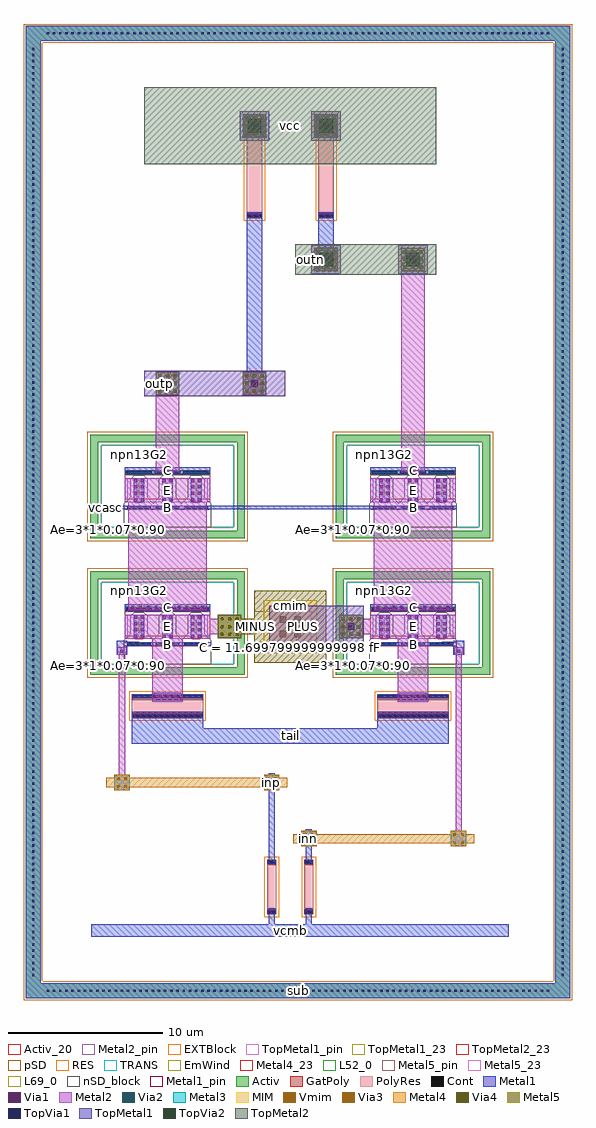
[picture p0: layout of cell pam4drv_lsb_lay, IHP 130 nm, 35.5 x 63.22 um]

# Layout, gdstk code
import gdstk
lib = gdstk.Library(unit=1e-6, precision=1e-09)
def R(c, l, rs):  # rectangles x0, y0, x1, y1
    for r in rs: c.add(gdstk.rectangle(r[:2], r[2:], *l))
def A(c, l, x, y, w, h, nx, ny, dx, dy):  # array of equal rectangles
    R(c, l, [(x+i*dx, y+j*dy, x+i*dx+w, y+j*dy+h) for i in range(nx) for j in range(ny)])
def P(c, l, *ps):  # polygons
    for p in ps: c.add(gdstk.Polygon(p, *l))
Activ = (1, 0)
Activ_20 = (1, 20)
GatPoly = (5, 0)
Cont = (6, 0)
nSD_block = (7, 21)
Metal1 = (8, 0)
Metal1_pin = (8, 2)
Metal2 = (10, 0)
Metal2_pin = (10, 2)
pSD = (14, 0)
Via1 = (19, 0)
RES = (24, 0)
TRANS = (26, 0)
Via2 = (29, 0)
Metal3 = (30, 0)
EmWind = (33, 0)
MIM = (36, 0)
Via3 = (49, 0)
Metal4 = (50, 0)
Metal4_23 = (50, 23)
L52_0 = (52, 0)
Via4 = (66, 0)
Metal5 = (67, 0)
Metal5_pin = (67, 2)
Metal5_23 = (67, 23)
L69_0 = (69, 0)
EXTBlock = (111, 0)
TopVia1 = (125, 0)
TopMetal1 = (126, 0)
TopMetal1_pin = (126, 2)
TopMetal1_23 = (126, 23)
PolyRes = (128, 0)
Vmim = (129, 0)
TopVia2 = (133, 0)
TopMetal2 = (134, 0)
TopMetal2_23 = (134, 23)

pam4drv_lsb_lay = lib.new_cell('pam4drv_lsb_lay')
R(pam4drv_lsb_lay, Activ, [(-10.725,4.31,-5.175,4.61), (5.175,4.31,10.725,4.61), (-10.725,13.16,-5.175,13.46), (5.175,13.16,10.725,13.46)])
P(pam4drv_lsb_lay, Activ, [(-12.95,0.2),(-12.95,6.41),(-12.45,6.41),(-12.45,0.7),(-3.45,0.7),(-3.45,6.41),(-12.95,6.41),(-12.95,6.91),(-2.95,6.91),(-2.95,0.2)],
  [(2.95,0.2),(2.95,6.41),(3.45,6.41),(3.45,0.7),(12.45,0.7),(12.45,6.41),(2.95,6.41),(2.95,6.91),(12.95,6.91),(12.95,0.2)],
  [(-12.95,9.05),(-12.95,15.26),(-12.45,15.26),(-12.45,9.55),(-3.45,9.55),(-3.45,15.26),(-12.95,15.26),(-12.95,15.76),(-2.95,15.76),(-2.95,9.05)],
  [(2.95,9.05),(2.95,15.26),(3.45,15.26),(3.45,9.55),(12.45,9.55),(12.45,15.26),(2.95,15.26),(2.95,15.76),(12.95,15.76),(12.95,9.05)],
  [(-17.15,-20.76),(-17.15,41.26),(-16.15,41.26),(-16.15,-19.76),(17.15,-19.76),(17.15,41.26),(-17.15,41.26),(-17.15,42.26),(18.15,42.26),(18.15,-20.76)])
P(pam4drv_lsb_lay, Activ_20, [(-10.035,2.5),(-10.245,2.71),(-10.725,2.71),(-10.725,4.31),(-5.175,4.31),(-5.175,2.71),(-5.655,2.71),(-5.865,2.5),(-6.335,2.5),(-6.545,2.71),(-7.505,2.71),(-7.715,2.5),(-8.185,2.5),(-8.395,2.71),(-9.355,2.71),(-9.565,2.5)],
  [(5.865,2.5),(5.655,2.71),(5.175,2.71),(5.175,4.31),(10.725,4.31),(10.725,2.71),(10.245,2.71),(10.035,2.5),(9.565,2.5),(9.355,2.71),(8.395,2.71),(8.185,2.5),(7.715,2.5),(7.505,2.71),(6.545,2.71),(6.335,2.5)],
  [(-10.035,11.35),(-10.245,11.56),(-10.725,11.56),(-10.725,13.16),(-5.175,13.16),(-5.175,11.56),(-5.655,11.56),(-5.865,11.35),(-6.335,11.35),(-6.545,11.56),(-7.505,11.56),(-7.715,11.35),(-8.185,11.35),(-8.395,11.56),(-9.355,11.56),(-9.565,11.35)],
  [(5.865,11.35),(5.655,11.56),(5.175,11.56),(5.175,13.16),(10.725,13.16),(10.725,11.56),(10.245,11.56),(10.035,11.35),(9.565,11.35),(9.355,11.56),(8.395,11.56),(8.185,11.35),(7.715,11.35),(7.505,11.56),(6.545,11.56),(6.335,11.35)])
R(pam4drv_lsb_lay, GatPoly, [(-1.49,-15.31,-0.91,-14.96), (0.91,-15.31,1.49,-14.96), (-1.49,-12.11,-0.91,-11.76), (0.91,-12.11,1.49,-11.76), (-10.255,-2.6,-5.645,-2.25), (5.645,-2.6,10.255,-2.25), (-10.255,-1.4,-5.645,-1.05), (5.645,-1.4,10.255,-1.05), (-2.825,29.78,-1.815,30.13), (1.815,29.78,2.825,30.13), (-2.825,35.56,-1.815,35.91), (1.815,35.56,2.825,35.91)])
A(pam4drv_lsb_lay, Cont, -15.78, -20.34, 0.16, 0.16, 82, 2, 0.4, 62.02)
A(pam4drv_lsb_lay, Cont, -16.73, -19.33, 0.16, 0.16, 1, 151, 0, 0.4)
A(pam4drv_lsb_lay, Cont, 17.57, -19.33, 0.16, 0.16, 1, 151, 0, 0.4)
A(pam4drv_lsb_lay, Cont, -10.56, 2.11, 1.52, 0.16, 3, 2, 1.85, 8.85)
A(pam4drv_lsb_lay, Cont, 5.34, 2.11, 1.52, 0.16, 3, 2, 1.85, 8.85)
A(pam4drv_lsb_lay, Cont, -10.625, 4.38, 1.65, 0.16, 3, 2, 1.85, 8.85)
A(pam4drv_lsb_lay, Cont, 5.275, 4.38, 1.65, 0.16, 3, 2, 1.85, 8.85)
R(pam4drv_lsb_lay, Cont, [(-1.42,-15.24,-0.98,-15.08), (0.98,-15.24,1.42,-15.08), (-1.42,-11.99,-0.98,-11.83), (0.98,-11.99,1.42,-11.83), (-10.185,-2.53,-5.715,-2.37), (5.715,-2.53,10.185,-2.37), (-10.185,-1.28,-5.715,-1.12), (5.715,-1.28,10.185,-1.12), (-2.755,29.85,-1.885,30.01), (1.885,29.85,2.755,30.01), (-2.755,35.68,-1.885,35.84), (1.885,35.68,2.755,35.84)])
P(pam4drv_lsb_lay, nSD_block, [(-10.775,0.9),(-10.775,2.43),(-10.355,2.85),(-10.355,4.02),(-10.105,4.27),(-9.495,4.27),(-9.245,4.02),(-9.245,2.85),(-8.875,2.48),(-8.505,2.85),(-8.505,4.02),(-8.255,4.27),(-7.645,4.27),(-7.395,4.02),(-7.395,2.85),(-7.025,2.48),(-6.655,2.85),(-6.655,4.02),(-6.405,4.27),(-5.795,4.27),(-5.545,4.02),(-5.545,2.85),(-5.125,2.43),(-5.125,0.9)],
  [(5.125,0.9),(5.125,2.43),(5.545,2.85),(5.545,4.02),(5.795,4.27),(6.405,4.27),(6.655,4.02),(6.655,2.85),(7.025,2.48),(7.395,2.85),(7.395,4.02),(7.645,4.27),(8.255,4.27),(8.505,4.02),(8.505,2.85),(8.875,2.48),(9.245,2.85),(9.245,4.02),(9.495,4.27),(10.105,4.27),(10.355,4.02),(10.355,2.85),(10.775,2.43),(10.775,0.9)],
  [(-10.775,9.75),(-10.775,11.28),(-10.355,11.7),(-10.355,12.87),(-10.105,13.12),(-9.495,13.12),(-9.245,12.87),(-9.245,11.7),(-8.875,11.33),(-8.505,11.7),(-8.505,12.87),(-8.255,13.12),(-7.645,13.12),(-7.395,12.87),(-7.395,11.7),(-7.025,11.33),(-6.655,11.7),(-6.655,12.87),(-6.405,13.12),(-5.795,13.12),(-5.545,12.87),(-5.545,11.7),(-5.125,11.28),(-5.125,9.75)],
  [(5.125,9.75),(5.125,11.28),(5.545,11.7),(5.545,12.87),(5.795,13.12),(6.405,13.12),(6.655,12.87),(6.655,11.7),(7.025,11.33),(7.395,11.7),(7.395,12.87),(7.645,13.12),(8.255,13.12),(8.505,12.87),(8.505,11.7),(8.875,11.33),(9.245,11.7),(9.245,12.87),(9.495,13.12),(10.105,13.12),(10.355,12.87),(10.355,11.7),(10.775,11.28),(10.775,9.75)])
A(pam4drv_lsb_lay, Metal1, -10.15, 2.545, 0.7, 1.555, 3, 2, 1.85, 8.85)
A(pam4drv_lsb_lay, Metal1, 5.75, 2.545, 0.7, 1.555, 3, 2, 1.85, 8.85)
R(pam4drv_lsb_lay, Metal1, [(-3.08,35,-1.56,36.52), (1.56,35,3.08,36.52)])
P(pam4drv_lsb_lay, Metal1, [(-12.905,-16.76),(-12.905,-15.96),(-1.4,-15.96),(-1.4,-15.29),(-1.47,-15.29),(-1.47,-15.03),(-1.4,-15.03),(-1.4,-14.91),(-1,-14.91),(-1,-15.03),(-0.93,-15.03),(-0.93,-15.29),(-1,-15.29),(-1,-15.96),(1,-15.96),(1,-15.29),(0.93,-15.29),(0.93,-15.03),(1,-15.03),(1,-14.91),(1.4,-14.91),(1.4,-15.03),(1.47,-15.03),(1.47,-15.29),(1.4,-15.29),(1.4,-15.96),(14.15,-15.96),(14.15,-16.76)],
  [(0.93,-12.04),(0.93,-11.78),(1,-11.78),(1,-10.91),(0.7,-10.91),(0.7,-9.91),(1,-9.91),(1,-9.81),(1.4,-9.81),(1.4,-9.91),(1.7,-9.91),(1.7,-10.91),(1.4,-10.91),(1.4,-11.78),(1.47,-11.78),(1.47,-12.04)],
  [(-1.47,-12.04),(-1.47,-11.78),(-1.4,-11.78),(-1.4,-7.28),(-1.7,-7.28),(-1.7,-6.28),(-1.4,-6.28),(-1.4,-6.18),(-1,-6.18),(-1,-6.28),(-0.7,-6.28),(-0.7,-7.28),(-1,-7.28),(-1,-11.78),(-0.93,-11.78),(-0.93,-12.04)],
  [(-10.255,-4.25),(-10.255,-2.2),(-5.645,-2.2),(-5.645,-3.25),(5.645,-3.25),(5.645,-2.2),(10.255,-2.2),(10.255,-4.25)],
  [(-8.85,-1.45),(-8.85,-1.33),(-10.235,-1.33),(-10.235,-1.07),(-8.85,-1.07),(-8.85,-0.95),(-7.05,-0.95),(-7.05,-1.07),(-5.665,-1.07),(-5.665,-1.33),(-7.05,-1.33),(-7.05,-1.45)],
  [(7.05,-1.45),(7.05,-1.33),(5.665,-1.33),(5.665,-1.07),(7.05,-1.07),(7.05,-0.95),(8.85,-0.95),(8.85,-1.07),(10.235,-1.07),(10.235,-1.33),(8.85,-1.33),(8.85,-1.45)],
  [(-11.255,1.49),(-11.255,2.4),(-10.555,2.4),(-10.555,2.34),(-9.8,2.34),(-9.8,2.32),(-5.25,2.32),(-5.25,2.31),(-5.125,2.31),(-5.125,2.07),(-5.25,2.07),(-5.25,2.06),(-9.8,2.06),(-9.8,2.04),(-10.555,2.04),(-10.555,1.49)],
  [(10.555,1.49),(10.555,2.04),(9.8,2.04),(9.8,2.06),(5.25,2.06),(5.25,2.07),(5.125,2.07),(5.125,2.31),(5.25,2.31),(5.25,2.32),(9.8,2.32),(9.8,2.34),(10.555,2.34),(10.555,2.4),(11.255,2.4),(11.255,1.49)],
  [(-10.67,4.33),(-10.67,4.35),(-10.725,4.35),(-10.725,4.79),(-5.175,4.79),(-5.175,4.35),(-5.23,4.35),(-5.23,4.33)],
  [(5.23,4.33),(5.23,4.35),(5.175,4.35),(5.175,4.79),(10.725,4.79),(10.725,4.35),(10.67,4.35),(10.67,4.33)],
  [(-10.65,10.91),(-10.65,10.92),(-12.27,10.92),(-12.27,11.16),(-10.65,11.16),(-10.65,11.17),(-5.25,11.17),(-5.25,11.16),(5.25,11.16),(5.25,11.17),(10.65,11.17),(10.65,11.16),(10.775,11.16),(10.775,10.92),(10.65,10.92),(10.65,10.91),(5.25,10.91),(5.25,10.92),(-5.25,10.92),(-5.25,10.91)],
  [(-10.67,13.18),(-10.67,13.2),(-10.725,13.2),(-10.725,13.64),(-5.175,13.64),(-5.175,13.2),(-5.23,13.2),(-5.23,13.18)],
  [(5.23,13.18),(5.23,13.2),(5.175,13.2),(5.175,13.64),(10.725,13.64),(10.725,13.2),(10.67,13.2),(10.67,13.18)],
  [(-3.08,18.325),(-3.08,19.845),(-2.825,19.845),(-2.825,30.18),(-1.815,30.18),(-1.815,19.845),(-1.56,19.845),(-1.56,18.325)],
  [(1.56,26.345),(1.56,27.865),(1.815,27.865),(1.815,30.18),(2.825,30.18),(2.825,27.865),(3.08,27.865),(3.08,26.345)],
  [(-17.15,-20.76),(-17.15,41.26),(-16.15,41.26),(-16.15,-19.76),(17.15,-19.76),(17.15,41.26),(-17.15,41.26),(-17.15,42.26),(18.15,42.26),(18.15,-20.76)])
R(pam4drv_lsb_lay, Metal1_pin, [(-1.47,-15.29,-0.93,-15.03), (0.93,-15.29,1.47,-15.03), (-1.47,-12.04,-0.93,-11.78), (0.93,-12.04,1.47,-11.78), (-10.235,-2.58,-5.665,-2.32), (5.665,-2.58,10.235,-2.32), (-10.235,-1.33,-5.665,-1.07), (5.665,-1.33,10.235,-1.07), (-10.775,2.07,-5.125,2.31), (5.125,2.07,10.775,2.31), (-10.725,4.35,-5.175,4.79), (5.175,4.35,10.725,4.79), (-10.775,10.92,-5.125,11.16), (5.125,10.92,10.775,11.16), (-10.725,13.2,-5.175,13.64), (5.175,13.2,10.725,13.64), (-2.805,29.8,-1.835,30.06), (1.835,29.8,2.805,30.06), (-2.805,35.63,-1.835,35.89), (1.835,35.63,2.805,35.89)])
R(pam4drv_lsb_lay, Metal2, [(0.7,-10.91,1.7,-9.91), (-1.7,-7.28,-0.7,-6.28), (-3.08,18.325,-1.56,19.845), (1.56,26.345,3.08,27.865), (-3.08,35,-1.56,36.52), (1.56,35,3.08,36.52)])
P(pam4drv_lsb_lay, Metal2, [(-11.405,-7.28),(-11.405,-6.28),(-11.105,-6.28),(-11.105,1.49),(-11.205,1.49),(-11.205,1.99),(-10.605,1.99),(-10.605,1.49),(-10.705,1.49),(-10.705,-6.28),(-10.405,-6.28),(-10.405,-7.28)],
  [(10.405,-10.91),(10.405,-9.91),(10.705,-9.91),(10.705,1.49),(10.605,1.49),(10.605,1.99),(11.205,1.99),(11.205,1.49),(11.105,1.49),(11.105,-9.91),(11.405,-9.91),(11.405,-10.91)],
  [(-8.95,-1.55),(-8.95,2.545),(-10.725,2.545),(-10.725,4.1),(-5.175,4.1),(-5.175,3.82),(-4.685,3.82),(-4.685,4.08),(-3.165,4.08),(-3.165,2.56),(-4.685,2.56),(-4.685,2.82),(-5.175,2.82),(-5.175,2.545),(-6.95,2.545),(-6.95,-1.55)],
  [(6.95,-1.55),(6.95,2.545),(5.175,2.545),(5.175,2.82),(4.685,2.82),(4.685,2.56),(3.165,2.56),(3.165,4.08),(4.685,4.08),(4.685,3.82),(5.175,3.82),(5.175,4.1),(10.725,4.1),(10.725,2.545),(8.95,2.545),(8.95,-1.55)],
  [(-10.5,4.37),(-10.5,11.395),(-10.725,11.395),(-10.725,12.95),(-5.175,12.95),(-5.175,11.395),(-5.4,11.395),(-5.4,4.37)],
  [(5.4,4.37),(5.4,11.395),(5.175,11.395),(5.175,12.95),(10.725,12.95),(10.725,11.395),(10.5,11.395),(10.5,4.37)],
  [(-8.72,13.34),(-8.72,19.085),(-8.71,19.085),(-8.71,19.845),(-7.19,19.845),(-7.19,19.085),(-7.18,19.085),(-7.18,13.34)],
  [(7.18,13.34),(7.18,27.105),(7.19,27.105),(7.19,27.865),(8.71,27.865),(8.71,27.105),(8.72,27.105),(8.72,13.34)])
R(pam4drv_lsb_lay, Metal2_pin, [(-10.545,2.545,-5.355,4.1), (5.355,2.545,10.545,4.1), (-10.545,11.395,-5.355,12.95), (5.355,11.395,10.545,12.95)])
P(pam4drv_lsb_lay, pSD, [(-13.15,0),(-13.15,6.21),(-12.25,6.21),(-12.25,0.9),(-3.65,0.9),(-3.65,6.21),(-13.15,6.21),(-13.15,7.11),(-2.75,7.11),(-2.75,0)],
  [(2.75,0),(2.75,6.21),(3.65,6.21),(3.65,0.9),(12.25,0.9),(12.25,6.21),(2.75,6.21),(2.75,7.11),(13.15,7.11),(13.15,0)],
  [(-13.15,8.85),(-13.15,15.06),(-12.25,15.06),(-12.25,9.75),(-3.65,9.75),(-3.65,15.06),(-13.15,15.06),(-13.15,15.96),(-2.75,15.96),(-2.75,8.85)],
  [(2.75,8.85),(2.75,15.06),(3.65,15.06),(3.65,9.75),(12.25,9.75),(12.25,15.06),(2.75,15.06),(2.75,15.96),(13.15,15.96),(13.15,8.85)],
  [(-17.25,-20.86),(-17.25,41.16),(-16.05,41.16),(-16.05,-19.66),(17.05,-19.66),(17.05,41.16),(-17.25,41.16),(-17.25,42.36),(18.25,42.36),(18.25,-20.86)])
A(pam4drv_lsb_lay, Via1, -8.545, -1.295, 0.19, 0.19, 3, 1, 0.5, 0)
A(pam4drv_lsb_lay, Via1, 7.355, -1.295, 0.19, 0.19, 3, 1, 0.5, 0)
A(pam4drv_lsb_lay, Via1, -10.1, 2.61, 0.19, 0.19, 1, 4, 0, 0.41)
A(pam4drv_lsb_lay, Via1, -9.69, 2.61, 0.19, 0.19, 1, 4, 0, 0.41)
A(pam4drv_lsb_lay, Via1, -8.25, 2.61, 0.19, 0.19, 1, 4, 0, 0.41)
A(pam4drv_lsb_lay, Via1, -7.84, 2.61, 0.19, 0.19, 1, 4, 0, 0.41)
A(pam4drv_lsb_lay, Via1, -6.4, 2.61, 0.19, 0.19, 1, 4, 0, 0.41)
A(pam4drv_lsb_lay, Via1, -5.99, 2.61, 0.19, 0.19, 1, 4, 0, 0.41)
A(pam4drv_lsb_lay, Via1, 5.8, 2.61, 0.19, 0.19, 1, 4, 0, 0.41)
A(pam4drv_lsb_lay, Via1, 6.21, 2.61, 0.19, 0.19, 1, 4, 0, 0.41)
A(pam4drv_lsb_lay, Via1, 7.65, 2.61, 0.19, 0.19, 1, 4, 0, 0.41)
A(pam4drv_lsb_lay, Via1, 8.06, 2.61, 0.19, 0.19, 1, 4, 0, 0.41)
A(pam4drv_lsb_lay, Via1, 9.5, 2.61, 0.19, 0.19, 1, 4, 0, 0.41)
A(pam4drv_lsb_lay, Via1, 9.91, 2.61, 0.19, 0.19, 1, 4, 0, 0.41)
A(pam4drv_lsb_lay, Via1, -10.295, 4.475, 0.19, 0.19, 10, 1, 0.5, 0)
A(pam4drv_lsb_lay, Via1, 5.605, 4.475, 0.19, 0.19, 10, 1, 0.5, 0)
A(pam4drv_lsb_lay, Via1, -10.1, 11.46, 0.19, 0.19, 1, 4, 0, 0.41)
A(pam4drv_lsb_lay, Via1, -9.69, 11.46, 0.19, 0.19, 1, 4, 0, 0.41)
A(pam4drv_lsb_lay, Via1, -8.25, 11.46, 0.19, 0.19, 1, 4, 0, 0.41)
A(pam4drv_lsb_lay, Via1, -7.84, 11.46, 0.19, 0.19, 1, 4, 0, 0.41)
A(pam4drv_lsb_lay, Via1, -6.4, 11.46, 0.19, 0.19, 1, 4, 0, 0.41)
A(pam4drv_lsb_lay, Via1, -5.99, 11.46, 0.19, 0.19, 1, 4, 0, 0.41)
A(pam4drv_lsb_lay, Via1, 5.8, 11.46, 0.19, 0.19, 1, 4, 0, 0.41)
A(pam4drv_lsb_lay, Via1, 6.21, 11.46, 0.19, 0.19, 1, 4, 0, 0.41)
A(pam4drv_lsb_lay, Via1, 7.65, 11.46, 0.19, 0.19, 1, 4, 0, 0.41)
A(pam4drv_lsb_lay, Via1, 8.06, 11.46, 0.19, 0.19, 1, 4, 0, 0.41)
A(pam4drv_lsb_lay, Via1, 9.5, 11.46, 0.19, 0.19, 1, 4, 0, 0.41)
A(pam4drv_lsb_lay, Via1, 9.91, 11.46, 0.19, 0.19, 1, 4, 0, 0.41)
A(pam4drv_lsb_lay, Via1, -2.915, 18.49, 0.19, 0.19, 3, 3, 0.5, 0.5)
A(pam4drv_lsb_lay, Via1, 1.725, 26.51, 0.19, 0.19, 3, 3, 0.5, 0.5)
A(pam4drv_lsb_lay, Via1, -2.915, 35.165, 0.19, 0.19, 3, 3, 0.5, 0.5)
A(pam4drv_lsb_lay, Via1, 1.725, 35.165, 0.19, 0.19, 3, 3, 0.5, 0.5)
R(pam4drv_lsb_lay, Via1, [(0.855,-10.755,1.045,-10.565), (1.355,-10.755,1.545,-10.565), (0.855,-10.255,1.045,-10.065), (1.355,-10.255,1.545,-10.065), (-1.545,-7.125,-1.355,-6.935), (-1.045,-7.125,-0.855,-6.935), (-1.545,-6.625,-1.355,-6.435), (-1.045,-6.625,-0.855,-6.435), (-11,1.645,-10.81,1.835), (10.81,1.645,11,1.835), (-8.295,13.395,-8.105,13.585), (-7.795,13.395,-7.605,13.585), (7.605,13.395,7.795,13.585), (8.105,13.395,8.295,13.585)])
R(pam4drv_lsb_lay, RES, [(-1.49,-14.96,-0.91,-12.11), (0.91,-14.96,1.49,-12.11), (-10.255,-2.25,-5.645,-1.4), (5.645,-2.25,10.255,-1.4), (-2.825,30.13,-1.815,35.56), (1.815,30.13,2.825,35.56)])
R(pam4drv_lsb_lay, TRANS, [(-12.25,0.9,-3.65,6.21), (3.65,0.9,12.25,6.21), (-12.25,9.75,-3.65,15.06), (3.65,9.75,12.25,15.06)])
A(pam4drv_lsb_lay, Via2, -4.52, 2.725, 0.19, 0.19, 3, 3, 0.5, 0.5)
A(pam4drv_lsb_lay, Via2, 3.33, 2.725, 0.19, 0.19, 3, 3, 0.5, 0.5)
A(pam4drv_lsb_lay, Via2, -8.545, 18.49, 0.19, 0.19, 3, 3, 0.5, 0.5)
A(pam4drv_lsb_lay, Via2, -2.915, 18.49, 0.19, 0.19, 3, 3, 0.5, 0.5)
A(pam4drv_lsb_lay, Via2, 1.725, 26.51, 0.19, 0.19, 3, 3, 0.5, 0.5)
A(pam4drv_lsb_lay, Via2, 7.355, 26.51, 0.19, 0.19, 3, 3, 0.5, 0.5)
A(pam4drv_lsb_lay, Via2, -2.915, 35.165, 0.19, 0.19, 3, 3, 0.5, 0.5)
A(pam4drv_lsb_lay, Via2, 1.725, 35.165, 0.19, 0.19, 3, 3, 0.5, 0.5)
R(pam4drv_lsb_lay, Via2, [(0.855,-10.755,1.045,-10.565), (1.355,-10.755,1.545,-10.565), (10.56,-10.755,10.75,-10.565), (11.06,-10.755,11.25,-10.565), (0.855,-10.255,1.045,-10.065), (1.355,-10.255,1.545,-10.065), (10.56,-10.255,10.75,-10.065), (11.06,-10.255,11.25,-10.065), (-11.25,-7.125,-11.06,-6.935), (-10.75,-7.125,-10.56,-6.935), (-1.545,-7.125,-1.355,-6.935), (-1.045,-7.125,-0.855,-6.935), (-11.25,-6.625,-11.06,-6.435), (-10.75,-6.625,-10.56,-6.435), (-1.545,-6.625,-1.355,-6.435), (-1.045,-6.625,-0.855,-6.435)])
R(pam4drv_lsb_lay, Metal3, [(0.7,-10.91,1.7,-9.91), (10.405,-10.91,11.405,-9.91), (-11.405,-7.28,-10.405,-6.28), (-1.7,-7.28,-0.7,-6.28), (-4.685,2.56,-3.165,4.08), (3.165,2.56,4.685,4.08), (-8.71,18.325,-7.19,19.845), (-3.08,18.325,-1.56,19.845), (1.56,26.345,3.08,27.865), (7.19,26.345,8.71,27.865), (-3.08,35,-1.56,36.52), (1.56,35,3.08,36.52)])
A(pam4drv_lsb_lay, EmWind, -9.835, 2.88, 0.07, 0.9, 3, 2, 1.85, 8.85)
A(pam4drv_lsb_lay, EmWind, 6.065, 2.88, 0.07, 0.9, 3, 2, 1.85, 8.85)
R(pam4drv_lsb_lay, MIM, [(-1.725,1.595,1.725,5.045)])
A(pam4drv_lsb_lay, Via3, -4.52, 2.725, 0.19, 0.19, 3, 3, 0.5, 0.5)
A(pam4drv_lsb_lay, Via3, 3.33, 2.725, 0.19, 0.19, 3, 3, 0.5, 0.5)
A(pam4drv_lsb_lay, Via3, -8.545, 18.49, 0.19, 0.19, 3, 3, 0.5, 0.5)
A(pam4drv_lsb_lay, Via3, -2.915, 18.49, 0.19, 0.19, 3, 3, 0.5, 0.5)
A(pam4drv_lsb_lay, Via3, 1.725, 26.51, 0.19, 0.19, 3, 3, 0.5, 0.5)
A(pam4drv_lsb_lay, Via3, 7.355, 26.51, 0.19, 0.19, 3, 3, 0.5, 0.5)
A(pam4drv_lsb_lay, Via3, -2.915, 35.165, 0.19, 0.19, 3, 3, 0.5, 0.5)
A(pam4drv_lsb_lay, Via3, 1.725, 35.165, 0.19, 0.19, 3, 3, 0.5, 0.5)
R(pam4drv_lsb_lay, Via3, [(0.855,-10.755,1.045,-10.565), (1.355,-10.755,1.545,-10.565), (10.56,-10.755,10.75,-10.565), (11.06,-10.755,11.25,-10.565), (0.855,-10.255,1.045,-10.065), (1.355,-10.255,1.545,-10.065), (10.56,-10.255,10.75,-10.065), (11.06,-10.255,11.25,-10.065), (-11.25,-7.125,-11.06,-6.935), (-10.75,-7.125,-10.56,-6.935), (-1.545,-7.125,-1.355,-6.935), (-1.045,-7.125,-0.855,-6.935), (-11.25,-6.625,-11.06,-6.435), (-10.75,-6.625,-10.56,-6.435), (-1.545,-6.625,-1.355,-6.435), (-1.045,-6.625,-0.855,-6.435)])
R(pam4drv_lsb_lay, Metal4, [(-4.685,2.56,-3.165,4.08), (3.165,2.56,4.685,4.08), (-8.71,18.325,-7.19,19.845), (-3.08,18.325,-1.56,19.845), (1.56,26.345,3.08,27.865), (7.19,26.345,8.71,27.865), (-3.08,35,-1.56,36.52), (1.56,35,3.08,36.52)])
P(pam4drv_lsb_lay, Metal4, [(0.7,-10.91),(0.7,-10.71),(0.2,-10.71),(0.2,-10.11),(0.7,-10.11),(0.7,-9.91),(1.7,-9.91),(1.7,-10.11),(10.405,-10.11),(10.405,-9.91),(11.405,-9.91),(11.405,-10.11),(11.905,-10.11),(11.905,-10.71),(11.405,-10.71),(11.405,-10.91),(10.405,-10.91),(10.405,-10.71),(1.7,-10.71),(1.7,-10.91)],
  [(-11.405,-7.28),(-11.405,-7.08),(-11.905,-7.08),(-11.905,-6.48),(-11.405,-6.48),(-11.405,-6.28),(-10.405,-6.28),(-10.405,-6.48),(-1.7,-6.48),(-1.7,-6.28),(-0.7,-6.28),(-0.7,-6.48),(-0.2,-6.48),(-0.2,-7.08),(-0.7,-7.08),(-0.7,-7.28),(-1.7,-7.28),(-1.7,-7.08),(-10.405,-7.08),(-10.405,-7.28)])
R(pam4drv_lsb_lay, Metal4_23, [(-2.325,0.995,2.325,5.645)])
R(pam4drv_lsb_lay, L52_0, [(-1.49,-14.96,-0.91,-12.11), (0.91,-14.96,1.49,-12.11), (-10.255,-2.25,-5.645,-1.4), (5.645,-2.25,10.255,-1.4), (-2.825,30.13,-1.815,35.56), (1.815,30.13,2.825,35.56)])
A(pam4drv_lsb_lay, Via4, -4.52, 2.725, 0.19, 0.19, 3, 3, 0.5, 0.5)
A(pam4drv_lsb_lay, Via4, 3.33, 2.725, 0.19, 0.19, 3, 3, 0.5, 0.5)
A(pam4drv_lsb_lay, Via4, -8.545, 18.49, 0.19, 0.19, 3, 3, 0.5, 0.5)
A(pam4drv_lsb_lay, Via4, -2.915, 18.49, 0.19, 0.19, 3, 3, 0.5, 0.5)
A(pam4drv_lsb_lay, Via4, 1.725, 26.51, 0.19, 0.19, 3, 3, 0.5, 0.5)
A(pam4drv_lsb_lay, Via4, 7.355, 26.51, 0.19, 0.19, 3, 3, 0.5, 0.5)
A(pam4drv_lsb_lay, Via4, -2.915, 35.165, 0.19, 0.19, 3, 3, 0.5, 0.5)
A(pam4drv_lsb_lay, Via4, 1.725, 35.165, 0.19, 0.19, 3, 3, 0.5, 0.5)
R(pam4drv_lsb_lay, Metal5, [(3.165,2.56,4.685,4.08), (-8.71,18.325,-7.19,19.845), (-3.08,18.325,-1.56,19.845), (1.56,26.345,3.08,27.865), (7.19,26.345,8.71,27.865), (-3.08,35,-1.56,36.52), (1.56,35,3.08,36.52)])
P(pam4drv_lsb_lay, Metal5, [(-2.325,0.995),(-2.325,2.82),(-3.165,2.82),(-3.165,2.56),(-4.685,2.56),(-4.685,4.08),(-3.165,4.08),(-3.165,3.82),(-2.325,3.82),(-2.325,5.645),(2.325,5.645),(2.325,0.995)])
R(pam4drv_lsb_lay, Metal5_pin, [(-2.325,2.32,-1.325,4.32)])
R(pam4drv_lsb_lay, Metal5_23, [(-2.325,0.995,2.325,5.645)])
R(pam4drv_lsb_lay, L69_0, [(-2.325,0.995,2.325,5.645)])
R(pam4drv_lsb_lay, EXTBlock, [(-1.67,-15.49,-0.73,-11.58), (0.73,-15.49,1.67,-11.58), (-10.435,-2.78,-5.465,-0.87), (5.465,-2.78,10.435,-0.87), (-3.005,29.6,-1.635,36.09), (1.635,29.6,3.005,36.09)])
R(pam4drv_lsb_lay, TopVia1, [(3.715,3.11,4.135,3.53), (-8.16,18.875,-7.74,19.295), (-2.53,18.875,-2.11,19.295), (2.11,26.895,2.53,27.315), (7.74,26.895,8.16,27.315), (-2.53,35.55,-2.11,35.97), (2.11,35.55,2.53,35.97)])
R(pam4drv_lsb_lay, TopMetal1, [(-1.365,1.955,4.745,4.685), (-9.45,18.26,-0.32,19.91), (1.37,26.155,3.27,28.055), (7,26.155,8.9,28.055), (-3.27,34.81,-1.37,36.71), (1.37,34.81,3.27,36.71)])
R(pam4drv_lsb_lay, TopMetal1_pin, [(0.365,2.32,1.365,4.32)])
R(pam4drv_lsb_lay, TopMetal1_23, [(-2.325,0.995,2.325,5.645)])
R(pam4drv_lsb_lay, PolyRes, [(-1.49,-14.96,-0.91,-12.11), (0.91,-14.96,1.49,-12.11), (-10.255,-2.25,-5.645,-1.4), (5.645,-2.25,10.255,-1.4), (-2.825,30.13,-1.815,35.56), (1.815,30.13,2.825,35.56)])
R(pam4drv_lsb_lay, Vmim, [(-0.68,2.64,-0.26,3.06), (0.26,2.64,0.68,3.06), (-0.68,3.58,-0.26,4), (0.26,3.58,0.68,4)])
R(pam4drv_lsb_lay, TopVia2, [(1.87,26.655,2.77,27.555), (7.5,26.655,8.4,27.555), (-2.77,35.31,-1.87,36.21), (1.87,35.31,2.77,36.21)])
R(pam4drv_lsb_lay, TopMetal2, [(0.32,26.105,9.45,28.105), (-9.45,33.26,9.45,38.26)])
R(pam4drv_lsb_lay, TopMetal2_23, [(-2.325,0.995,2.325,5.645)])
pam4drv_lsb_lay.add(gdstk.Label('tail', (0,-3.75), layer=8, texttype=25))
pam4drv_lsb_lay.add(gdstk.Label('vcasc', (-11.97,11.04), layer=8, texttype=25))
pam4drv_lsb_lay.add(gdstk.Label('vcmb', (0,-16.36), layer=8, texttype=25))
pam4drv_lsb_lay.add(gdstk.Label('sub', (0.5,-20.26), layer=8, texttype=25))
pam4drv_lsb_lay.add(gdstk.Label('inp', (-1.2,-6.78), layer=50, texttype=25))
pam4drv_lsb_lay.add(gdstk.Label('inn', (1.2,-10.41), layer=50, texttype=25))
pam4drv_lsb_lay.add(gdstk.Label('npn13G2', (-9.785,5.64), layer=63, texttype=0))
pam4drv_lsb_lay.add(gdstk.Label('C', (-7.95,4.57), layer=63, texttype=0))
pam4drv_lsb_lay.add(gdstk.Label('B', (-7.95,2.19), layer=63, texttype=0))
pam4drv_lsb_lay.add(gdstk.Label('E', (-7.95,3.323), layer=63, texttype=0))
pam4drv_lsb_lay.add(gdstk.Label('Ae=3*1*0.07*0.90', (-11.777,0.784), layer=63, texttype=0))
pam4drv_lsb_lay.add(gdstk.Label('npn13G2', (6.115,5.64), layer=63, texttype=0))
pam4drv_lsb_lay.add(gdstk.Label('C', (7.95,4.57), layer=63, texttype=0))
pam4drv_lsb_lay.add(gdstk.Label('B', (7.95,2.19), layer=63, texttype=0))
pam4drv_lsb_lay.add(gdstk.Label('E', (7.95,3.323), layer=63, texttype=0))
pam4drv_lsb_lay.add(gdstk.Label('Ae=3*1*0.07*0.90', (4.123,0.784), layer=63, texttype=0))
pam4drv_lsb_lay.add(gdstk.Label('npn13G2', (-9.785,14.49), layer=63, texttype=0))
pam4drv_lsb_lay.add(gdstk.Label('C', (-7.95,13.42), layer=63, texttype=0))
pam4drv_lsb_lay.add(gdstk.Label('B', (-7.95,11.04), layer=63, texttype=0))
pam4drv_lsb_lay.add(gdstk.Label('E', (-7.95,12.173), layer=63, texttype=0))
pam4drv_lsb_lay.add(gdstk.Label('Ae=3*1*0.07*0.90', (-11.777,9.634), layer=63, texttype=0))
pam4drv_lsb_lay.add(gdstk.Label('npn13G2', (6.115,14.49), layer=63, texttype=0))
pam4drv_lsb_lay.add(gdstk.Label('C', (7.95,13.42), layer=63, texttype=0))
pam4drv_lsb_lay.add(gdstk.Label('B', (7.95,11.04), layer=63, texttype=0))
pam4drv_lsb_lay.add(gdstk.Label('E', (7.95,12.173), layer=63, texttype=0))
pam4drv_lsb_lay.add(gdstk.Label('Ae=3*1*0.07*0.90', (4.123,9.634), layer=63, texttype=0))
pam4drv_lsb_lay.add(gdstk.Label('PLUS', (0.865,3.32), layer=63, texttype=0))
pam4drv_lsb_lay.add(gdstk.Label('MINUS', (-2.225,3.32), layer=63, texttype=0))
pam4drv_lsb_lay.add(gdstk.Label('cmim', (0,4.685), layer=63, texttype=0))
pam4drv_lsb_lay.add(gdstk.Label('C = 11.699799999999998 fF', (0,1.955), layer=63, texttype=0))
pam4drv_lsb_lay.add(gdstk.Label('outp', (-8.45,19.085), layer=126, texttype=25))
pam4drv_lsb_lay.add(gdstk.Label('outn', (1.32,27.105), layer=134, texttype=25))
pam4drv_lsb_lay.add(gdstk.Label('vcc', (0,35.76), layer=134, texttype=25))

lib.write_gds('pam4drv_lsb_lay.gds')
